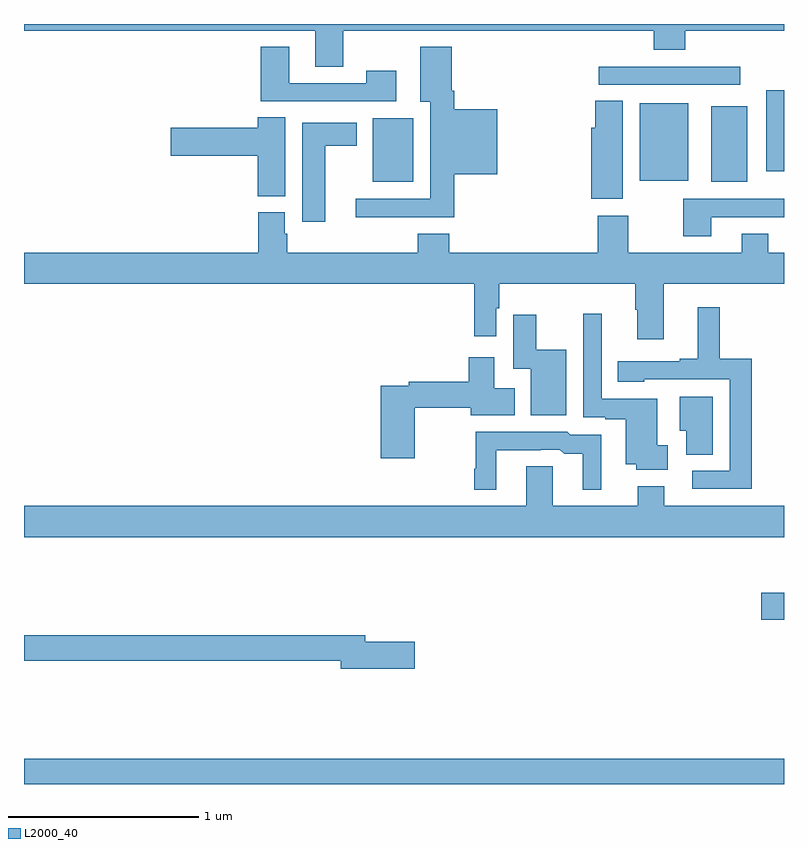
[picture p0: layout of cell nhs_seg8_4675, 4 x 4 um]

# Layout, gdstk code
import gdstk
lib = gdstk.Library(unit=1e-6, precision=1e-09)
def R(c, l, rs):  # rectangles x0, y0, x1, y1
    for r in rs: c.add(gdstk.rectangle(r[:2], r[2:], *l))
def P(c, l, *ps):  # polygons
    for p in ps: c.add(gdstk.Polygon(p, *l))
L2000_40 = (2000, 40)

nhs_seg8_4675 = lib.new_cell('nhs_seg8_4675')
R(nhs_seg8_4675, L2000_40, [(395,1081.9,399,1082.032), (398.88,1082.765,399,1082.907), (396.836,1085.069,397.048,1085.404), (398.618,1085.069,398.806,1085.467), (398.24,1085.075,398.497,1085.482), (398.906,1085.124,399,1085.551), (398.025,1085.58,398.77,1085.676)])
P(nhs_seg8_4675, L2000_40, [(396.681,1085.864),(398.315,1085.864),(398.315,1085.765),(398.48,1085.765),(398.48,1085.864),(399,1085.864),(399,1085.9),(395,1085.9),(395,1085.864),(396.533,1085.864),(396.533,1085.674),(396.681,1085.674)],
  [(396.958,1085.653),(396.802,1085.653),(396.802,1085.589),(396.397,1085.589),(396.397,1085.779),(396.245,1085.779),(396.245,1085.493),(396.958,1085.493)],
  [(397.265,1085.108),(397.492,1085.108),(397.492,1085.452),(397.265,1085.452),(397.265,1085.548),(397.252,1085.548),(397.252,1085.779),(397.085,1085.779),(397.085,1085.492),(397.139,1085.492),(397.139,1084.98),(396.747,1084.98),(396.747,1084.883),(397.265,1084.883)],
  [(398.152,1085.495),(398.006,1085.495),(398.006,1085.355),(397.985,1085.355),(397.985,1084.979),(398.152,1084.979)],
  [(396.376,1085.408),(396.23,1085.408),(396.23,1085.354),(395.772,1085.354),(395.772,1085.207),(396.23,1085.207),(396.23,1084.993),(396.376,1084.993)],
  [(396.586,1085.258),(396.751,1085.258),(396.751,1085.38),(396.464,1085.38),(396.464,1084.86),(396.586,1084.86)],
  [(398.617,1084.884),(399,1084.884),(399,1084.98),(398.47,1084.98),(398.47,1084.782),(398.617,1084.782)],
  [(398.368,1084.532),(399,1084.532),(399,1084.696),(398.917,1084.696),(398.917,1084.795),(398.777,1084.795),(398.777,1084.696),(398.181,1084.696),(398.181,1084.891),(398.021,1084.891),(398.021,1084.696),(397.238,1084.696),(397.238,1084.795),(397.073,1084.795),(397.073,1084.696),(396.386,1084.696),(396.386,1084.797),(396.373,1084.797),(396.373,1084.908),(396.233,1084.908),(396.233,1084.696),(395,1084.696),(395,1084.532),(397.369,1084.532),(397.369,1084.257),(397.485,1084.257),(397.485,1084.403),(397.501,1084.403),(397.501,1084.532),(398.216,1084.532),(398.216,1084.395),(398.228,1084.395),(398.228,1084.242),(398.368,1084.242)],
  [(398.831,1084.138),(398.663,1084.138),(398.663,1084.408),(398.546,1084.408),(398.546,1084.138),(398.45,1084.138),(398.45,1084.125),(398.125,1084.125),(398.125,1084.016),(398.265,1084.016),(398.265,1084.029),(398.715,1084.029),(398.715,1083.549),(398.517,1083.549),(398.517,1083.453),(398.831,1083.453)],
  [(398.389,1083.684),(398.332,1083.684),(398.332,1083.927),(398.04,1083.927),(398.04,1084.375),(397.944,1084.375),(397.944,1083.831),(398.06,1083.831),(398.06,1083.819),(398.168,1083.819),(398.168,1083.584),(398.222,1083.584),(398.222,1083.554),(398.389,1083.554)],
  [(397.855,1084.186),(397.696,1084.186),(397.696,1084.369),(397.575,1084.369),(397.575,1084.085),(397.667,1084.085),(397.667,1083.842),(397.855,1083.842)],
  [(397.056,1083.88),(397.352,1083.88),(397.352,1083.842),(397.582,1083.842),(397.582,1083.982),(397.474,1083.982),(397.474,1084.147),(397.34,1084.147),(397.34,1084.016),(397.024,1084.016),(397.024,1083.996),(396.878,1083.996),(396.878,1083.615),(397.056,1083.615)],
  [(398.626,1083.937),(398.45,1083.937),(398.45,1083.758),(398.486,1083.758),(398.486,1083.634),(398.626,1083.634)],
  [(397.486,1083.657),(397.721,1083.657),(397.721,1083.66),(397.821,1083.66),(397.844,1083.638),(397.94,1083.638),(397.94,1083.449),(398.038,1083.449),(398.038,1083.738),(397.875,1083.738),(397.86,1083.753),(397.377,1083.753),(397.377,1083.56),(397.369,1083.56),(397.369,1083.449),(397.486,1083.449)],
  [(399,1083.364),(398.371,1083.364),(398.371,1083.466),(398.231,1083.466),(398.231,1083.364),(397.783,1083.364),(397.783,1083.572),(397.643,1083.572),(397.643,1083.364),(395,1083.364),(395,1083.2),(399,1083.2)],
  [(397.057,1082.648),(396.796,1082.648),(396.796,1082.684),(395,1082.684),(395,1082.548),(396.668,1082.548),(396.668,1082.506),(397.057,1082.506)])

lib.write_gds('nhs_seg8_4675.gds')
